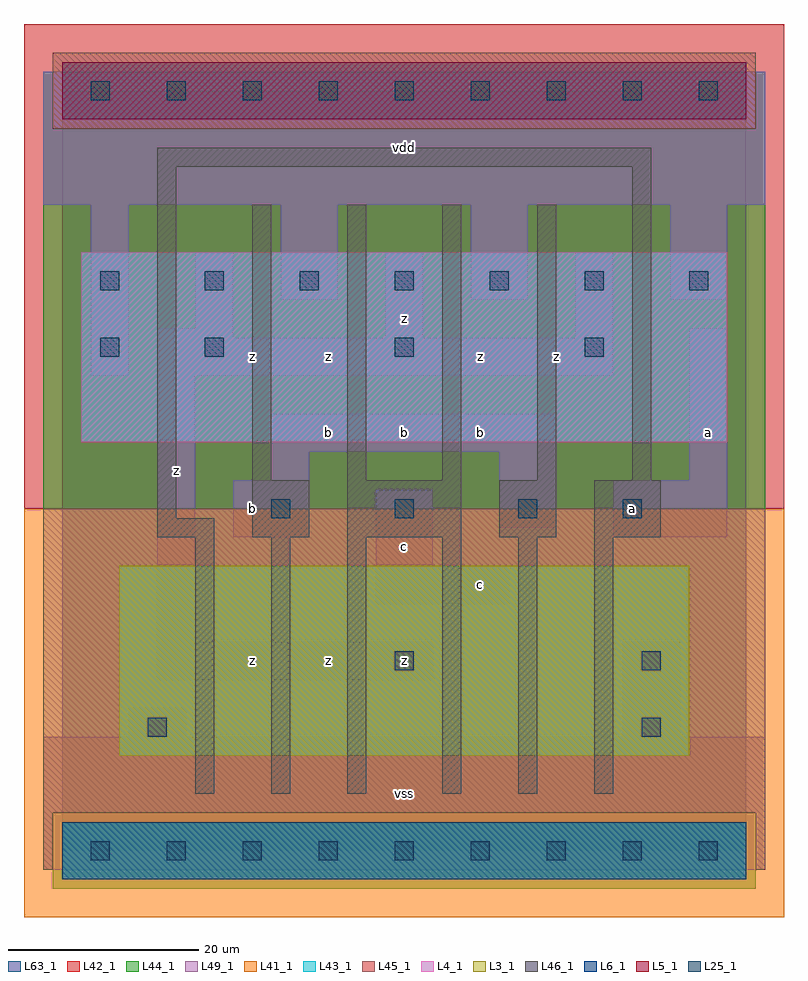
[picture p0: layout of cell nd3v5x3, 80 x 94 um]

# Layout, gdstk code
import gdstk
lib = gdstk.Library(unit=1e-6, precision=1e-09)
def R(c, l, rs):  # rectangles x0, y0, x1, y1
    for r in rs: c.add(gdstk.rectangle(r[:2], r[2:], *l))
def A(c, l, x, y, w, h, nx, ny, dx, dy):  # array of equal rectangles
    R(c, l, [(x+i*dx, y+j*dy, x+i*dx+w, y+j*dy+h) for i in range(nx) for j in range(ny)])
L3_1 = (3, 1)
L4_1 = (4, 1)
L5_1 = (5, 1)
L6_1 = (6, 1)
L25_1 = (25, 1)
L41_1 = (41, 1)
L42_1 = (42, 1)
L43_1 = (43, 1)
L44_1 = (44, 1)
L45_1 = (45, 1)
L46_1 = (46, 1)
L49_1 = (49, 1)
L63_1 = (63, 1)

nd3v5x3 = lib.new_cell('nd3v5x3')
R(nd3v5x3, L3_1, [(6,10,66,30)])
R(nd3v5x3, L4_1, [(2,43,70,63)])
R(nd3v5x3, L5_1, [(0,77,72,83)])
R(nd3v5x3, L6_1, [(0,-3,72,3), (0,-3,72,3)])
A(nd3v5x3, L25_1, 3, -1, 2, 2, 9, 2, 8, 80)
A(nd3v5x3, L25_1, 22, 35, 2, 2, 3, 1, 13, 0)
A(nd3v5x3, L25_1, 15, 52, 2, 2, 3, 1, 20, 0)
A(nd3v5x3, L25_1, 15, 59, 2, 2, 5, 1, 10, 0)
R(nd3v5x3, L25_1, [(9,12,11,14), (61,12,63,14), (35,19,37,21), (61,19,63,21), (59,35,61,37), (4,52,6,54), (4,59,6,61), (66,59,68,61)])
R(nd3v5x3, L41_1, [(-4,-7,76,36)])
R(nd3v5x3, L42_1, [(-4,36,76,87)])
R(nd3v5x3, L43_1, [(0,-3,72,3), (6,10,66,30), (2,43,70,63), (0,77,72,83)])
R(nd3v5x3, L44_1, [(-1,-4,73,4), (-2,36,74,76), (-2,76,-1,82), (73,76,74,82)])
R(nd3v5x3, L45_1, [(-2,-2,-1,4), (73,-2,74,4), (-2,4,74,36), (-1,76,73,84)])
A(nd3v5x3, L46_1, 14, 6, 2, 27, 3, 1, 8, 0)
A(nd3v5x3, L46_1, 40, 6, 2, 27, 3, 1, 8, 0)
A(nd3v5x3, L46_1, 20, 39, 2, 29, 4, 1, 10, 0)
R(nd3v5x3, L46_1, [(10,33,16,35), (20,33,26,39), (30,33,42,39), (46,33,52,39), (56,33,63,39), (10,35,12,72), (60,39,62,72), (10,72,62,74)])
R(nd3v5x3, L49_1, [(-2,-2,74,12), (7,12,13,15), (59,12,65,22), (10,18,39,22), (10,22,14,50), (33,26,47,30), (33,30,39,38), (18,33,26,39), (58,33,70,39), (46,34,52,42), (22,39,26,42), (66,39,70,55), (22,42,52,46), (3,50,7,68), (10,50,58,54), (10,54,18,55), (34,54,38,63), (54,54,58,63), (14,55,18,63), (23,58,29,68), (43,58,49,68), (64,58,70,68), (-2,68,74,82)])
R(nd3v5x3, L63_1, [(0,0,72,80)])
nd3v5x3.add(gdstk.Label('z', (20,20), layer=49, texttype=1))
nd3v5x3.add(gdstk.Label('z', (12,40), layer=49, texttype=1))
nd3v5x3.add(gdstk.Label('b', (20,36), layer=49, texttype=1))
nd3v5x3.add(gdstk.Label('z', (20,52), layer=49, texttype=1))
nd3v5x3.add(gdstk.Label('vss', (36,6), layer=49, texttype=1))
nd3v5x3.add(gdstk.Label('z', (28,20), layer=49, texttype=1))
nd3v5x3.add(gdstk.Label('z', (36,20), layer=49, texttype=1))
nd3v5x3.add(gdstk.Label('c', (36,32), layer=49, texttype=1))
nd3v5x3.add(gdstk.Label('b', (28,44), layer=49, texttype=1))
nd3v5x3.add(gdstk.Label('b', (36,44), layer=49, texttype=1))
nd3v5x3.add(gdstk.Label('z', (28,52), layer=49, texttype=1))
nd3v5x3.add(gdstk.Label('z', (36,56), layer=49, texttype=1))
nd3v5x3.add(gdstk.Label('vdd', (36,74), layer=49, texttype=1))
nd3v5x3.add(gdstk.Label('c', (44,28), layer=49, texttype=1))
nd3v5x3.add(gdstk.Label('b', (44,44), layer=49, texttype=1))
nd3v5x3.add(gdstk.Label('z', (52,52), layer=49, texttype=1))
nd3v5x3.add(gdstk.Label('z', (44,52), layer=49, texttype=1))
nd3v5x3.add(gdstk.Label('a', (60,36), layer=49, texttype=1))
nd3v5x3.add(gdstk.Label('a', (68,44), layer=49, texttype=1))

lib.write_gds('nd3v5x3.gds')
